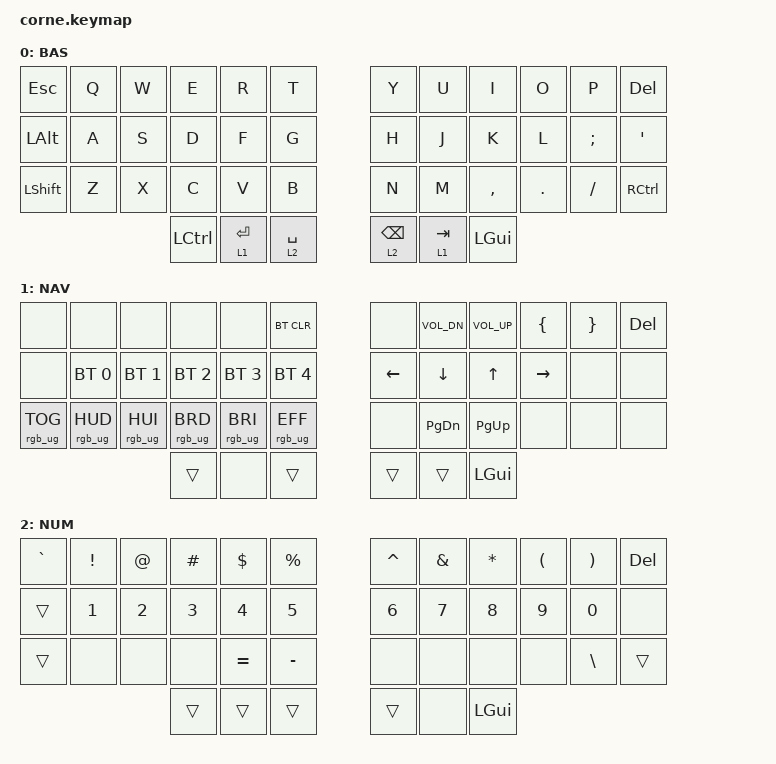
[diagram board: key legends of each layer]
/*
 * Corne 42 LP Wireless - ZMK Keymap
 *
 * Layer 0: Base (QWERTY)
 * Layer 1: Navigation / Arrows
 * Layer 2: Numbers / Symbols
 */

#include <behaviors.dtsi>
#include <dt-bindings/zmk/keys.h>
#include <dt-bindings/zmk/bt.h>
#include <dt-bindings/zmk/outputs.h>
#include <dt-bindings/zmk/ext_power.h>
#include <dt-bindings/led/led.h>
#include <dt-bindings/zmk/backlight.h>
#include <dt-bindings/zmk/rgb.h>
#include <dt-bindings/zmk/reset.h>

&led_strip {
    chain-length = <27>;
};

&lt {
    quick-tap-ms = <200>;
};

/ {
    keymap {
        compatible = "zmk,keymap";

        base_layer {
            display-name = "BAS";
            bindings = <
                &kp ESC   &kp Q  &kp W  &kp E  &kp R  &kp T        &kp Y  &kp U  &kp I      &kp O    &kp P     &kp DEL
                &kp LALT  &kp A  &kp S  &kp D  &kp F  &kp G        &kp H  &kp J  &kp K      &kp L    &kp SEMI  &kp SQT
                &kp LSHFT &kp Z  &kp X  &kp C  &kp V  &kp B        &kp N  &kp M  &kp COMMA  &kp DOT  &kp FSLH  &kp RCTRL
                              &kp LCTRL  &lt 1 RET  &lt 2 SPACE     &lt 2 BSPC  &lt 1 TAB  &kp LGUI
            >;
        };

        nav_layer {
            display-name = "NAV";
            bindings = <
                &none      &none  &none  &none  &none  &bt BT_CLR     &none        &kp C_VOL_DN &kp C_VOL_UP &kp LBRC  &kp RBRC  &kp DEL
                &none    &bt BT_SEL 0 &bt BT_SEL 1 &bt BT_SEL 2 &bt BT_SEL 3 &bt BT_SEL 4   &kp LEFT     &kp DOWN     &kp UP       &kp RIGHT &none     &none
                &rgb_ug RGB_TOG &rgb_ug RGB_HUD &rgb_ug RGB_HUI &rgb_ug RGB_BRD &rgb_ug RGB_BRI &rgb_ug RGB_EFF   &none  &kp PG_DN  &kp PG_UP  &none  &none  &none
                                   &trans     &none       &trans                      &trans       &trans       &kp LGUI
            >;
        };

        num_layer {
            display-name = "NUM";
            bindings = <
                &kp GRAVE  &kp EXCL   &kp AT    &kp HASH  &kp DLLR   &kp PRCNT      &kp CARET &kp AMPS  &kp ASTRK &kp LPAR   &kp RPAR  &kp DEL
                &trans     &kp N1     &kp N2    &kp N3    &kp N4     &kp N5         &kp N6    &kp N7    &kp N8    &kp N9     &kp N0    &none
                &trans     &none      &none     &none     &kp EQUAL  &kp MINUS      &none     &none     &none     &none      &kp BSLH  &trans
                                      &trans    &trans     &trans                    &trans    &none     &kp LGUI
            >;
        };

        extra_1 {
            status = "reserved";
        };

        extra_2 {
            status = "reserved";
        };

        extra_3 {
            status = "reserved";
        };
    };
};
